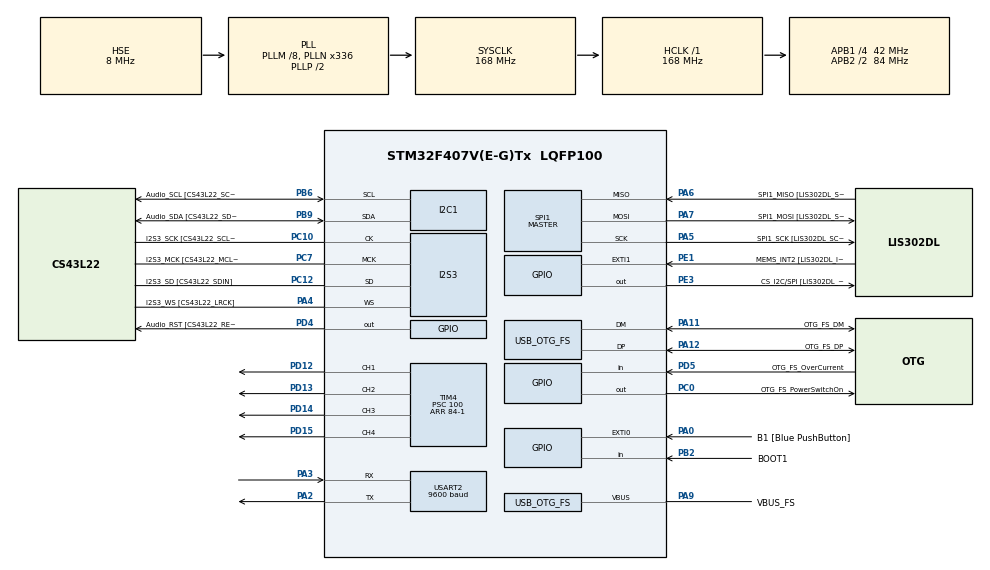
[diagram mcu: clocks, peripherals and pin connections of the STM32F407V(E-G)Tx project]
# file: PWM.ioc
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I2S3.AudioFreq-Half_Duplex_Master=I2S_AUDIOFREQ_96K
I2S3.ErrorAudioFreq=-2.34 %
I2S3.ErrorAudioFreq-Half_Duplex_Master=0.8 %
I2S3.FullDuplexMode=I2S_FULLDUPLEXMODE_DISABLE
I2S3.Instance=SPI$Index
I2S3.RealAudioFreq=93.75 KHz
I2S3.RealAudioFreq-Half_Duplex_Master=96.774 KHz
I2S3.VirtualMode=I2S_MODE_MASTER
Mcu.Family=STM32F4
Mcu.Name=STM32F407V(E-G)Tx
Mcu.Package=LQFP100
NVIC.OTG_FS_IRQn=true\:0\:0\:false\:false\:true\:true\:true\:true
NVIC.PriorityGroup=NVIC_PRIORITYGROUP_0
PA0-WKUP.GPIO_Label=B1 [Blue PushButton]
PA0-WKUP.GPIO_ModeDefaultEXTI=GPIO_MODE_EVT_RISING
PA0-WKUP.GPIO_PuPd=GPIO_NOPULL
PA0-WKUP.Signal=GPXTI0
PA10.GPIO_Label=OTG_FS_ID
PA10.GPIO_Mode=GPIO_MODE_AF_PP
PA10.GPIO_PuPd=GPIO_NOPULL
PA10.GPIO_Speed=GPIO_SPEED_FREQ_LOW
PA10.Signal=USB_OTG_FS_ID
PA11.GPIO_Label=OTG_FS_DM
PA11.GPIO_Mode=GPIO_MODE_AF_PP
PA11.GPIO_PuPd=GPIO_NOPULL
PA11.GPIO_Speed=GPIO_SPEED_FREQ_LOW
PA11.Mode=Host_Only
PA11.Signal=USB_OTG_FS_DM
PA12.GPIO_Label=OTG_FS_DP
PA12.GPIO_Mode=GPIO_MODE_AF_PP
PA12.GPIO_PuPd=GPIO_NOPULL
PA12.GPIO_Speed=GPIO_SPEED_FREQ_LOW
PA12.Mode=Host_Only
PA12.Signal=USB_OTG_FS_DP
PA13.GPIO_Label=SWDIO
PA13.Mode=Serial_Wire
PA13.Signal=SYS_JTMS-SWDIO
PA14.GPIO_Label=SWCLK
PA14.Mode=Serial_Wire
PA14.Signal=SYS_JTCK-SWCLK
PA2.Mode=Asynchronous
PA2.Signal=USART2_TX
PA3.Mode=Asynchronous
PA3.Signal=USART2_RX
PA4.GPIO_Label=I2S3_WS [CS43L22_LRCK]
PA4.GPIO_Mode=GPIO_MODE_AF_PP
PA4.GPIO_PuPd=GPIO_NOPULL
PA4.GPIO_Speed=GPIO_SPEED_FREQ_LOW
PA4.Mode=Half_Duplex_Master
PA4.Signal=I2S3_WS
PA5.GPIO_Label=SPI1_SCK [LIS302DL_SCL/SPC]
PA5.GPIO_Mode=GPIO_MODE_AF_PP
PA5.GPIO_PuPd=GPIO_NOPULL
PA5.GPIO_Speed=GPIO_SPEED_FREQ_LOW
PA5.Mode=Full_Duplex_Master
PA5.Signal=SPI1_SCK
PA6.GPIO_Label=SPI1_MISO [LIS302DL_SDO]
PA6.GPIO_Mode=GPIO_MODE_AF_PP
PA6.GPIO_PuPd=GPIO_NOPULL
PA6.GPIO_Speed=GPIO_SPEED_FREQ_LOW
PA6.Mode=Full_Duplex_Master
PA6.Signal=SPI1_MISO
PA7.GPIO_Label=SPI1_MOSI [LIS302DL_SDA/SDI/SDO]
PA7.GPIO_Mode=GPIO_MODE_AF_PP
PA7.GPIO_PuPd=GPIO_NOPULL
PA7.GPIO_Speed=GPIO_SPEED_FREQ_LOW
PA7.Mode=Full_Duplex_Master
PA7.Signal=SPI1_MOSI
PA9.GPIO_Label=VBUS_FS
PA9.GPIO_Mode=GPIO_MODE_INPUT
PA9.GPIO_PuPd=GPIO_NOPULL
PA9.Mode=Activate_VBUS
PA9.Signal=USB_OTG_FS_VBUS
PB10.GPIO_Label=CLK_IN [MP45DT02_CLK]
PB10.GPIO_Mode=GPIO_MODE_AF_PP
PB10.GPIO_PuPd=GPIO_NOPULL
PB10.GPIO_Speed=GPIO_SPEED_FREQ_LOW
PB10.Signal=I2S2_CK
PB2.GPIO_Label=BOOT1
PB2.GPIO_Mode=GPIO_MODE_INPUT
PB2.GPIO_PuPd=GPIO_NOPULL
PB2.Signal=GPIO_Input
PB3.GPIO_Label=SWO
PB3.Signal=SYS_JTDO-SWO
PB6.GPIO_Label=Audio_SCL [CS43L22_SCL]
PB6.GPIO_Mode=GPIO_MODE_AF_OD
PB6.GPIO_Pu=GPIO_PULLUP
PB6.GPIO_PuPd=GPIO_NOPULL
PB6.GPIO_Speed=GPIO_SPEED_FREQ_LOW
PB6.Mode=I2C
PB6.Signal=I2C1_SCL
PB9.GPIO_Label=Audio_SDA [CS43L22_SDA]
PB9.GPIO_Mode=GPIO_MODE_AF_OD
PB9.GPIO_Pu=GPIO_PULLUP
PB9.GPIO_PuPd=GPIO_NOPULL
PB9.GPIO_Speed=GPIO_SPEED_FREQ_LOW
PB9.Mode=I2C
PB9.Signal=I2C1_SDA
PC0.GPIO_Label=OTG_FS_PowerSwitchOn
PC0.GPIO_PuPd=GPIO_NOPULL
PC0.GPIO_Speed=GPIO_SPEED_FREQ_LOW
PC0.PinState=GPIO_PIN_SET
PC0.Signal=GPIO_Output
PC10.GPIO_Label=I2S3_SCK [CS43L22_SCLK]
PC10.GPIO_Mode=GPIO_MODE_AF_PP
PC10.GPIO_PuPd=GPIO_NOPULL
PC10.GPIO_Speed=GPIO_SPEED_FREQ_LOW
PC10.Mode=Half_Duplex_Master
PC10.Signal=I2S3_CK
PC12.GPIO_Label=I2S3_SD [CS43L22_SDIN]
PC12.GPIO_Mode=GPIO_MODE_AF_PP
PC12.GPIO_PuPd=GPIO_NOPULL
PC12.GPIO_Speed=GPIO_SPEED_FREQ_LOW
PC12.Mode=Half_Duplex_Master
PC12.Signal=I2S3_SD
PC14-OSC32_IN.GPIO_Label=PC14-OSC32_IN
PC14-OSC32_IN.Mode=LSE-External-Oscillator
PC14-OSC32_IN.Signal=RCC_OSC32_IN
PC15-OSC32_OUT.GPIO_Label=PC15-OSC32_OUT
PC15-OSC32_OUT.Mode=LSE-External-Oscillator
PC15-OSC32_OUT.Signal=RCC_OSC32_OUT
PC3.GPIO_Label=PDM_OUT [MP45DT02_DOUT]
PC3.GPIO_Mode=GPIO_MODE_AF_PP
PC3.GPIO_PuPd=GPIO_NOPULL
PC3.GPIO_Speed=GPIO_SPEED_FREQ_LOW
PC3.Signal=I2S2_SD
PC7.GPIO_Label=I2S3_MCK [CS43L22_MCLK]
PC7.GPIO_Mode=GPIO_MODE_AF_PP
PC7.GPIO_PuPd=GPIO_NOPULL
PC7.GPIO_Speed=GPIO_SPEED_FREQ_LOW
PC7.Mode=Master_Clock_Activated
PC7.Signal=I2S3_MCK
PD12.Signal=S_TIM4_CH1
PD13.Signal=S_TIM4_CH2
PD14.Signal=S_TIM4_CH3
PD15.Signal=S_TIM4_CH4
PD4.GPIO_Label=Audio_RST [CS43L22_RESET]
PD4.GPIO_PuPd=GPIO_NOPULL
PD4.GPIO_Speed=GPIO_SPEED_FREQ_LOW
PD4.Signal=GPIO_Output
PD5.GPIO_Label=OTG_FS_OverCurrent
PD5.GPIO_Mode=GPIO_MODE_INPUT
PD5.GPIO_PuPd=GPIO_NOPULL
PD5.Signal=GPIO_Input
PE1.GPIO_Label=MEMS_INT2 [LIS302DL_INT2]
PE1.GPIO_ModeDefaultEXTI=GPIO_MODE_EVT_RISING
PE1.GPIO_PuPd=GPIO_NOPULL
PE1.Signal=GPXTI1
PE3.GPIO_Label=CS_I2C/SPI [LIS302DL_CS_I2C/SPI]
PE3.GPIO_PuPd=GPIO_NOPULL
PE3.GPIO_Speed=GPIO_SPEED_FREQ_LOW
PE3.Signal=GPIO_Output
PH0-OSC_IN.GPIO_Label=PH0-OSC_IN
PH0-OSC_IN.Mode=HSE-External-Oscillator
PH0-OSC_IN.Signal=RCC_OSC_IN
PH1-OSC_OUT.GPIO_Label=PH1-OSC_OUT
PH1-OSC_OUT.Mode=HSE-External-Oscillator
PH1-OSC_OUT.Signal=RCC_OSC_OUT
ProjectManager.HeapSize=0x600
ProjectManager.StackSize=0x400
ProjectManager.TargetToolchain=STM32CubeIDE
RCC.48MHZClocksFreq_Value=48000000
RCC.AHBFreq_Value=168000000
RCC.APB1CLKDivider=RCC_HCLK_DIV4
RCC.APB1Freq_Value=42000000
RCC.APB1TimFreq_Value=84000000
RCC.APB2CLKDivider=RCC_HCLK_DIV2
RCC.APB2Freq_Value=84000000
RCC.APB2TimFreq_Value=168000000
RCC.CortexFreq_Value=168000000
RCC.HCLKFreq_Value=168000000
RCC.HSE_VALUE=8000000
RCC.HSI_VALUE=16000000
RCC.PLLM=8
RCC.PLLN=336
RCC.PLLQ=7
RCC.SYSCLKFreq_VALUE=168000000
RCC.SYSCLKSource=RCC_SYSCLKSOURCE_PLLCLK
RCC.VCOOutputFreq_Value=336000000
SH.S_TIM4_CH1.0=TIM4_CH1,PWM Generation1 CH1
SH.S_TIM4_CH2.0=TIM4_CH2,PWM Generation2 CH2
SH.S_TIM4_CH3.0=TIM4_CH3,PWM Generation3 CH3
SH.S_TIM4_CH4.0=TIM4_CH4,PWM Generation4 CH4
SPI1.BaudRatePrescaler-Full_Duplex_Master=SPI_BAUDRATEPRESCALER_2
SPI1.CalculateBaudRate-Full_Duplex_Master=42.0 MBits/s
SPI1.Direction=SPI_DIRECTION_2LINES
SPI1.Mode=SPI_MODE_MASTER
SPI1.Mode-Full_Duplex_Master=SPI_MODE_MASTER
SPI1.VirtualType=VM_MASTER
TIM4.Channel-PWM\ Generation1\ CH1=TIM_CHANNEL_1
TIM4.Channel-PWM\ Generation2\ CH2=TIM_CHANNEL_2
TIM4.Channel-PWM\ Generation3\ CH3=TIM_CHANNEL_3
TIM4.Channel-PWM\ Generation4\ CH4=TIM_CHANNEL_4
TIM4.Period=84-1
TIM4.Prescaler=100
USART2.BaudRate=9600
USART2.VirtualMode=VM_ASYNC
USB_HOST.BSP.number=1
USB_HOST.USBH_HandleTypeDef-CDC_FS=hUsbHostFS
USB_HOST.VirtualModeFS=Cdc
USB_HOST0.BSP.STBoard=false
USB_HOST0.BSP.api=Unknown
USB_HOST0.BSP.instance=PC0
USB_HOST0.BSP.ip=GPIO
USB_HOST0.BSP.mode=Output
USB_HOST0.BSP.name=Drive_VBUS_FS
USB_HOST0.BSP.solution=PC0
USB_OTG_FS.VirtualMode=Host_Only
USB_OTG_FS.phy_itface=HCD_PHY_EMBEDDED
VP_TIM4_VS_ClockSourceINT.Mode=Internal
VP_USB_HOST_VS_USB_HOST_CDC_FS.Mode=CDC_FS
board=STM32F407G-DISC1

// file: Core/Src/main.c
/* USER CODE BEGIN Header */
/**
  ******************************************************************************
  * @file           : main.c
  * @brief          : Main program body
  ******************************************************************************
  * @attention
  *
  * Copyright (c) 2026 STMicroelectronics.
  * All rights reserved.
  *
  * This software is licensed under terms that can be found in the LICENSE file
  * in the root directory of this software component.
  * If no LICENSE file comes with this software, it is provided AS-IS.
  *
  ******************************************************************************
  */
/* USER CODE END Header */
#include "main.h"
#include "usb_host.h"

I2C_HandleTypeDef hi2c1;

I2S_HandleTypeDef hi2s3;

SPI_HandleTypeDef hspi1;

TIM_HandleTypeDef htim4;

UART_HandleTypeDef huart2;

void SystemClock_Config(void);
static void MX_GPIO_Init(void);
static void MX_I2C1_Init(void);
static void MX_I2S3_Init(void);
static void MX_SPI1_Init(void);
static void MX_TIM4_Init(void);
static void MX_USART2_UART_Init(void);
void MX_USB_HOST_Process(void);

int main(void)
{

  /* MCU Configuration--------------------------------------------------------*/

  /* Reset of all peripherals, Initializes the Flash interface and the Systick. */
  HAL_Init();

  /* Configure the system clock */
  SystemClock_Config();

  /* Initialize all configured peripherals */
  MX_GPIO_Init();
  MX_I2C1_Init();
  MX_I2S3_Init();
  MX_SPI1_Init();
  MX_USB_HOST_Init();
  MX_TIM4_Init();
  MX_USART2_UART_Init();
  /* USER CODE BEGIN 2 */

  // Print hello, world to USART2
  uint8_t msg[] = "hello, world\r\n";
  HAL_UART_Transmit(&huart2, msg, sizeof(msg) - 1, HAL_MAX_DELAY);

  HAL_TIM_PWM_Start(&htim4, TIM_CHANNEL_4);
  HAL_TIM_PWM_Start(&htim4, TIM_CHANNEL_3);
  HAL_TIM_PWM_Start(&htim4, TIM_CHANNEL_2);
  HAL_TIM_PWM_Start(&htim4, TIM_CHANNEL_1);

  volatile uint8_t ul;

  /* USER CODE END 2 */

  /* Infinite loop */
  while (1)
  {
    MX_USB_HOST_Process();

    /* USER CODE BEGIN 3 */

    for (ul = 0; ul < 100; ul++)
    {
      __HAL_TIM_SET_COMPARE(&htim4, TIM_CHANNEL_4, ul);
      __HAL_TIM_SET_COMPARE(&htim4, TIM_CHANNEL_3, ul);
      __HAL_TIM_SET_COMPARE(&htim4, TIM_CHANNEL_2, ul);
      __HAL_TIM_SET_COMPARE(&htim4, TIM_CHANNEL_1, ul);
      HAL_Delay(10);
    }

    for (ul = 100; ul > 0; ul--)
    {
      __HAL_TIM_SET_COMPARE(&htim4, TIM_CHANNEL_4, ul);
      __HAL_TIM_SET_COMPARE(&htim4, TIM_CHANNEL_3, ul);
      __HAL_TIM_SET_COMPARE(&htim4, TIM_CHANNEL_2, ul);
      __HAL_TIM_SET_COMPARE(&htim4, TIM_CHANNEL_1, ul);
      HAL_Delay(10);
    }
  }
  /* USER CODE END 3 */
}

void SystemClock_Config(void)
{
  RCC_OscInitTypeDef RCC_OscInitStruct = {0};
  RCC_ClkInitTypeDef RCC_ClkInitStruct = {0};

  /** Configure the main internal regulator output voltage
  */
  __HAL_RCC_PWR_CLK_ENABLE();
  __HAL_PWR_VOLTAGESCALING_CONFIG(PWR_REGULATOR_VOLTAGE_SCALE1);

  /** Initializes the RCC Oscillators according to the specified parameters
  * in the RCC_OscInitTypeDef structure.
  */
  RCC_OscInitStruct.OscillatorType = RCC_OSCILLATORTYPE_HSE;
  RCC_OscInitStruct.HSEState = RCC_HSE_ON;
  RCC_OscInitStruct.PLL.PLLState = RCC_PLL_ON;
  RCC_OscInitStruct.PLL.PLLSource = RCC_PLLSOURCE_HSE;
  RCC_OscInitStruct.PLL.PLLM = 8;
  RCC_OscInitStruct.PLL.PLLN = 336;
  RCC_OscInitStruct.PLL.PLLP = RCC_PLLP_DIV2;
  RCC_OscInitStruct.PLL.PLLQ = 7;
  if (HAL_RCC_OscConfig(&RCC_OscInitStruct) != HAL_OK)
  {
    Error_Handler();
  }

  /** Initializes the CPU, AHB and APB buses clocks
  */
  RCC_ClkInitStruct.ClockType = RCC_CLOCKTYPE_HCLK|RCC_CLOCKTYPE_SYSCLK
                              |RCC_CLOCKTYPE_PCLK1|RCC_CLOCKTYPE_PCLK2;
  RCC_ClkInitStruct.SYSCLKSource = RCC_SYSCLKSOURCE_PLLCLK;
  RCC_ClkInitStruct.AHBCLKDivider = RCC_SYSCLK_DIV1;
  RCC_ClkInitStruct.APB1CLKDivider = RCC_HCLK_DIV4;
  RCC_ClkInitStruct.APB2CLKDivider = RCC_HCLK_DIV2;

  if (HAL_RCC_ClockConfig(&RCC_ClkInitStruct, FLASH_LATENCY_5) != HAL_OK)
  {
    Error_Handler();
  }
}

static void MX_I2C1_Init(void)
{

  hi2c1.Instance = I2C1;
  hi2c1.Init.ClockSpeed = 100000;
  hi2c1.Init.DutyCycle = I2C_DUTYCYCLE_2;
  hi2c1.Init.OwnAddress1 = 0;
  hi2c1.Init.AddressingMode = I2C_ADDRESSINGMODE_7BIT;
  hi2c1.Init.DualAddressMode = I2C_DUALADDRESS_DISABLE;
  hi2c1.Init.OwnAddress2 = 0;
  hi2c1.Init.GeneralCallMode = I2C_GENERALCALL_DISABLE;
  hi2c1.Init.NoStretchMode = I2C_NOSTRETCH_DISABLE;
  if (HAL_I2C_Init(&hi2c1) != HAL_OK)
  {
    Error_Handler();
  }

}

static void MX_I2S3_Init(void)
{

  hi2s3.Instance = SPI3;
  hi2s3.Init.Mode = I2S_MODE_MASTER_TX;
  hi2s3.Init.Standard = I2S_STANDARD_PHILIPS;
  hi2s3.Init.DataFormat = I2S_DATAFORMAT_16B;
  hi2s3.Init.MCLKOutput = I2S_MCLKOUTPUT_ENABLE;
  hi2s3.Init.AudioFreq = I2S_AUDIOFREQ_96K;
  hi2s3.Init.CPOL = I2S_CPOL_LOW;
  hi2s3.Init.ClockSource = I2S_CLOCK_PLL;
  hi2s3.Init.FullDuplexMode = I2S_FULLDUPLEXMODE_DISABLE;
  if (HAL_I2S_Init(&hi2s3) != HAL_OK)
  {
    Error_Handler();
  }

}

static void MX_SPI1_Init(void)
{

  /* SPI1 parameter configuration*/
  hspi1.Instance = SPI1;
  hspi1.Init.Mode = SPI_MODE_MASTER;
  hspi1.Init.Direction = SPI_DIRECTION_2LINES;
  hspi1.Init.DataSize = SPI_DATASIZE_8BIT;
  hspi1.Init.CLKPolarity = SPI_POLARITY_LOW;
  hspi1.Init.CLKPhase = SPI_PHASE_1EDGE;
  hspi1.Init.NSS = SPI_NSS_SOFT;
  hspi1.Init.BaudRatePrescaler = SPI_BAUDRATEPRESCALER_2;
  hspi1.Init.FirstBit = SPI_FIRSTBIT_MSB;
  hspi1.Init.TIMode = SPI_TIMODE_DISABLE;
  hspi1.Init.CRCCalculation = SPI_CRCCALCULATION_DISABLE;
  hspi1.Init.CRCPolynomial = 10;
  if (HAL_SPI_Init(&hspi1) != HAL_OK)
  {
    Error_Handler();
  }

}

static void MX_TIM4_Init(void)
{

  TIM_ClockConfigTypeDef sClockSourceConfig = {0};
  TIM_MasterConfigTypeDef sMasterConfig = {0};
  TIM_OC_InitTypeDef sConfigOC = {0};

  htim4.Instance = TIM4;
  htim4.Init.Prescaler = 100;
  htim4.Init.CounterMode = TIM_COUNTERMODE_UP;
  htim4.Init.Period = 84-1;
  htim4.Init.ClockDivision = TIM_CLOCKDIVISION_DIV1;
  htim4.Init.AutoReloadPreload = TIM_AUTORELOAD_PRELOAD_DISABLE;
  if (HAL_TIM_Base_Init(&htim4) != HAL_OK)
  {
    Error_Handler();
  }
  sClockSourceConfig.ClockSource = TIM_CLOCKSOURCE_INTERNAL;
  if (HAL_TIM_ConfigClockSource(&htim4, &sClockSourceConfig) != HAL_OK)
  {
    Error_Handler();
  }
  if (HAL_TIM_PWM_Init(&htim4) != HAL_OK)
  {
    Error_Handler();
  }
  sMasterConfig.MasterOutputTrigger = TIM_TRGO_RESET;
  sMasterConfig.MasterSlaveMode = TIM_MASTERSLAVEMODE_DISABLE;
  if (HAL_TIMEx_MasterConfigSynchronization(&htim4, &sMasterConfig) != HAL_OK)
  {
    Error_Handler();
  }
  sConfigOC.OCMode = TIM_OCMODE_PWM1;
  sConfigOC.Pulse = 0;
  sConfigOC.OCPolarity = TIM_OCPOLARITY_HIGH;
  sConfigOC.OCFastMode = TIM_OCFAST_DISABLE;
  if (HAL_TIM_PWM_ConfigChannel(&htim4, &sConfigOC, TIM_CHANNEL_1) != HAL_OK)
  {
    Error_Handler();
  }
  if (HAL_TIM_PWM_ConfigChannel(&htim4, &sConfigOC, TIM_CHANNEL_2) != HAL_OK)
  {
    Error_Handler();
  }
  if (HAL_TIM_PWM_ConfigChannel(&htim4, &sConfigOC, TIM_CHANNEL_3) != HAL_OK)
  {
    Error_Handler();
  }
  if (HAL_TIM_PWM_ConfigChannel(&htim4, &sConfigOC, TIM_CHANNEL_4) != HAL_OK)
  {
    Error_Handler();
  }
  HAL_TIM_MspPostInit(&htim4);

}

static void MX_USART2_UART_Init(void)
{

  huart2.Instance = USART2;
  huart2.Init.BaudRate = 9600;
  huart2.Init.WordLength = UART_WORDLENGTH_8B;
  huart2.Init.StopBits = UART_STOPBITS_1;
  huart2.Init.Parity = UART_PARITY_NONE;
  huart2.Init.Mode = UART_MODE_TX_RX;
  huart2.Init.HwFlowCtl = UART_HWCONTROL_NONE;
  huart2.Init.OverSampling = UART_OVERSAMPLING_16;
  if (HAL_UART_Init(&huart2) != HAL_OK)
  {
    Error_Handler();
  }

}

static void MX_GPIO_Init(void)
{
  GPIO_InitTypeDef GPIO_InitStruct = {0};

  /* GPIO Ports Clock Enable */
  __HAL_RCC_GPIOE_CLK_ENABLE();
  __HAL_RCC_GPIOC_CLK_ENABLE();
  __HAL_RCC_GPIOH_CLK_ENABLE();
  __HAL_RCC_GPIOA_CLK_ENABLE();
  __HAL_RCC_GPIOB_CLK_ENABLE();
  __HAL_RCC_GPIOD_CLK_ENABLE();

  /*Configure GPIO pin Output Level */
  HAL_GPIO_WritePin(CS_I2C_SPI_GPIO_Port, CS_I2C_SPI_Pin, GPIO_PIN_RESET);

  /*Configure GPIO pin Output Level */
  HAL_GPIO_WritePin(OTG_FS_PowerSwitchOn_GPIO_Port, OTG_FS_PowerSwitchOn_Pin, GPIO_PIN_SET);

  /*Configure GPIO pin Output Level */
  HAL_GPIO_WritePin(Audio_RST_GPIO_Port, Audio_RST_Pin, GPIO_PIN_RESET);

  /*Configure GPIO pin : CS_I2C_SPI_Pin */
  GPIO_InitStruct.Pin = CS_I2C_SPI_Pin;
  GPIO_InitStruct.Mode = GPIO_MODE_OUTPUT_PP;
  GPIO_InitStruct.Pull = GPIO_NOPULL;
  GPIO_InitStruct.Speed = GPIO_SPEED_FREQ_LOW;
  HAL_GPIO_Init(CS_I2C_SPI_GPIO_Port, &GPIO_InitStruct);

  /*Configure GPIO pin : OTG_FS_PowerSwitchOn_Pin */
  GPIO_InitStruct.Pin = OTG_FS_PowerSwitchOn_Pin;
  GPIO_InitStruct.Mode = GPIO_MODE_OUTPUT_PP;
  GPIO_InitStruct.Pull = GPIO_NOPULL;
  GPIO_InitStruct.Speed = GPIO_SPEED_FREQ_LOW;
  HAL_GPIO_Init(OTG_FS_PowerSwitchOn_GPIO_Port, &GPIO_InitStruct);

  /*Configure GPIO pin : PDM_OUT_Pin */
  GPIO_InitStruct.Pin = PDM_OUT_Pin;
  GPIO_InitStruct.Mode = GPIO_MODE_AF_PP;
  GPIO_InitStruct.Pull = GPIO_NOPULL;
  GPIO_InitStruct.Speed = GPIO_SPEED_FREQ_LOW;
  GPIO_InitStruct.Alternate = GPIO_AF5_SPI2;
  HAL_GPIO_Init(PDM_OUT_GPIO_Port, &GPIO_InitStruct);

  /*Configure GPIO pin : B1_Pin */
  GPIO_InitStruct.Pin = B1_Pin;
  GPIO_InitStruct.Mode = GPIO_MODE_EVT_RISING;
  GPIO_InitStruct.Pull = GPIO_NOPULL;
  HAL_GPIO_Init(B1_GPIO_Port, &GPIO_InitStruct);

  /*Configure GPIO pin : BOOT1_Pin */
  GPIO_InitStruct.Pin = BOOT1_Pin;
  GPIO_InitStruct.Mode = GPIO_MODE_INPUT;
  GPIO_InitStruct.Pull = GPIO_NOPULL;
  HAL_GPIO_Init(BOOT1_GPIO_Port, &GPIO_InitStruct);

  /*Configure GPIO pin : CLK_IN_Pin */
  GPIO_InitStruct.Pin = CLK_IN_Pin;
  GPIO_InitStruct.Mode = GPIO_MODE_AF_PP;
  GPIO_InitStruct.Pull = GPIO_NOPULL;
  GPIO_InitStruct.Speed = GPIO_SPEED_FREQ_LOW;
  GPIO_InitStruct.Alternate = GPIO_AF5_SPI2;
  HAL_GPIO_Init(CLK_IN_GPIO_Port, &GPIO_InitStruct);

  /*Configure GPIO pin : Audio_RST_Pin */
  GPIO_InitStruct.Pin = Audio_RST_Pin;
  GPIO_InitStruct.Mode = GPIO_MODE_OUTPUT_PP;
  GPIO_InitStruct.Pull = GPIO_NOPULL;
  GPIO_InitStruct.Speed = GPIO_SPEED_FREQ_LOW;
  HAL_GPIO_Init(Audio_RST_GPIO_Port, &GPIO_InitStruct);

  /*Configure GPIO pin : OTG_FS_OverCurrent_Pin */
  GPIO_InitStruct.Pin = OTG_FS_OverCurrent_Pin;
  GPIO_InitStruct.Mode = GPIO_MODE_INPUT;
  GPIO_InitStruct.Pull = GPIO_NOPULL;
  HAL_GPIO_Init(OTG_FS_OverCurrent_GPIO_Port, &GPIO_InitStruct);

  /*Configure GPIO pin : MEMS_INT2_Pin */
  GPIO_InitStruct.Pin = MEMS_INT2_Pin;
  GPIO_InitStruct.Mode = GPIO_MODE_EVT_RISING;
  GPIO_InitStruct.Pull = GPIO_NOPULL;
  HAL_GPIO_Init(MEMS_INT2_GPIO_Port, &GPIO_InitStruct);

}

void Error_Handler(void)
{
  __disable_irq();
  while (1)
  {
  }
}
